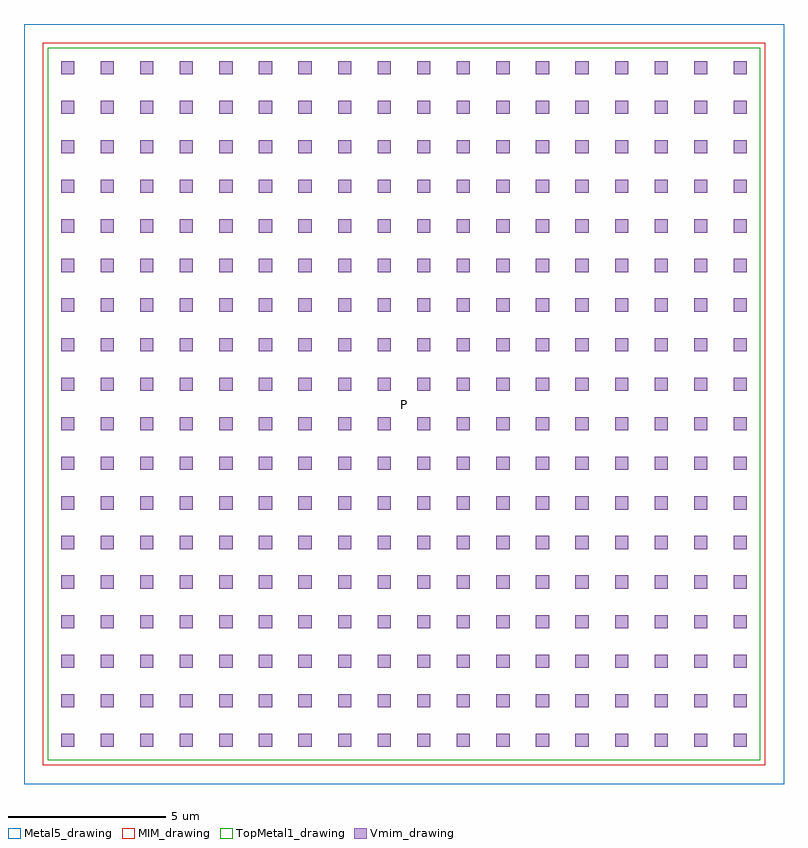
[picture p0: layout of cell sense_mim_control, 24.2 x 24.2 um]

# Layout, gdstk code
import gdstk
lib = gdstk.Library(unit=1e-6, precision=1e-09)
def R(c, l, rs):  # rectangles x0, y0, x1, y1
    for r in rs: c.add(gdstk.rectangle(r[:2], r[2:], *l))
def A(c, l, x, y, w, h, nx, ny, dx, dy):  # array of equal rectangles
    R(c, l, [(x+i*dx, y+j*dy, x+i*dx+w, y+j*dy+h) for i in range(nx) for j in range(ny)])
MIM_drawing = (36, 0)
Metal5_drawing = (67, 0)
TopMetal1_drawing = (126, 0)
Vmim_drawing = (129, 0)

sense_mim_control = lib.new_cell('sense_mim_control')
R(sense_mim_control, MIM_drawing, [(43.91,198.2,66.91,221.2)])
R(sense_mim_control, Metal5_drawing, [(43.31,197.6,67.51,221.8)])
R(sense_mim_control, TopMetal1_drawing, [(44.07,198.36,66.75,221.04)])
A(sense_mim_control, Vmim_drawing, 44.49, 198.78, 0.42, 0.42, 18, 18, 1.26, 1.26)
sense_mim_control.add(gdstk.Label('P', (55.41,209.7), layer=126, texttype=25))
sense_mim_control.add(gdstk.Label('N', (55.41,209.7), layer=67, texttype=25))

lib.write_gds('sense_mim_control.gds')
